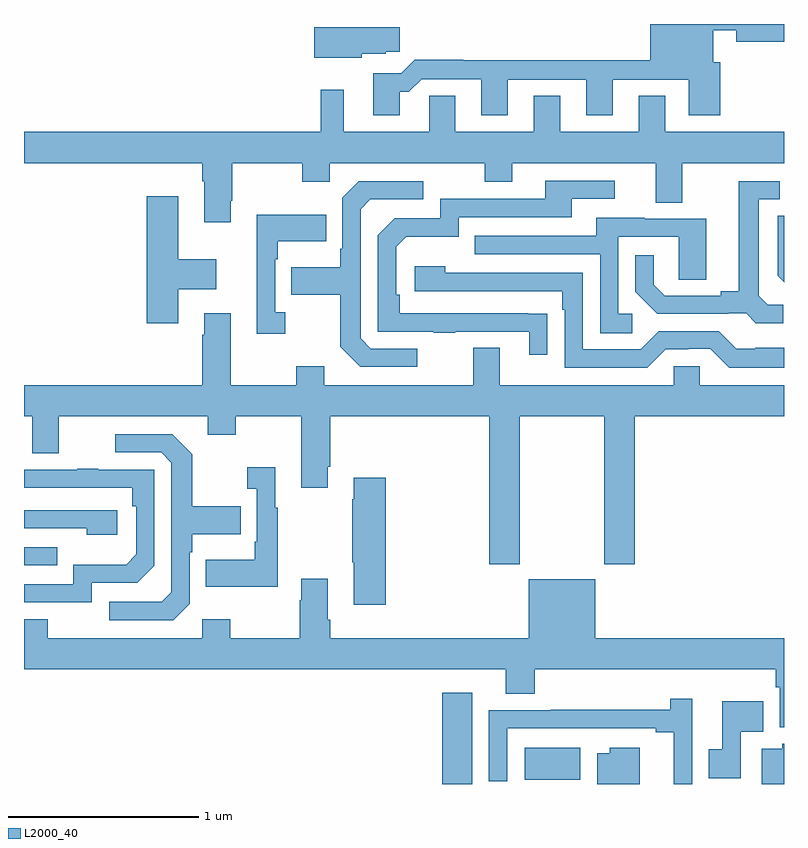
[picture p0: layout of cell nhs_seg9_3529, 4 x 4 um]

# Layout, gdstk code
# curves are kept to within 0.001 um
import gdstk
lib = gdstk.Library(unit=1e-6, precision=1e-09)
def R(c, l, rs):  # rectangles x0, y0, x1, y1
    for r in rs: c.add(gdstk.rectangle(r[:2], r[2:], *l))
def P(c, l, *ps):  # polygons
    for p in ps: c.add(gdstk.Polygon(p, *l))
L2000_40 = (2000, 40)

nhs_seg9_3529 = lib.new_cell('nhs_seg9_3529')
R(nhs_seg9_3529, L2000_40, [(315.2,1178.5,315.358,1178.98), (315.635,1178.522,315.928,1178.692), (313,1179.651,313.175,1179.747)])
P(nhs_seg9_3529, L2000_40, [(314.977,1182.143),(315.026,1182.143),(315.093,1182.21),(315.407,1182.21),(315.407,1182.021),(315.547,1182.021),(315.547,1182.207),(315.959,1182.207),(315.959,1182.021),(316.099,1182.021),(316.099,1182.207),(316.499,1182.207),(316.499,1182.021),(316.664,1182.021),(316.664,1182.3),(316.627,1182.3),(316.627,1182.467),(316.748,1182.467),(316.748,1182.406),(317,1182.406),(317,1182.5),(316.295,1182.5),(316.295,1182.308),(315.311,1182.308),(315.311,1182.311),(315.056,1182.311),(314.985,1182.24),(314.837,1182.24),(314.837,1182.021),(314.977,1182.021)],
  [(314.778,1182.344),(314.904,1182.344),(314.904,1182.355),(314.977,1182.355),(314.977,1182.484),(314.528,1182.484),(314.528,1182.323),(314.778,1182.323)],
  [(314.089,1181.569),(314.097,1181.569),(314.097,1181.768),(314.464,1181.768),(314.464,1181.669),(314.61,1181.669),(314.61,1181.768),(315.424,1181.768),(315.424,1181.669),(315.571,1181.669),(315.571,1181.768),(316.325,1181.768),(316.325,1181.56),(316.465,1181.56),(316.465,1181.768),(317,1181.768),(317,1181.932),(316.375,1181.932),(316.375,1182.122),(316.235,1182.122),(316.235,1181.932),(315.823,1181.932),(315.823,1182.122),(315.683,1182.122),(315.683,1181.932),(315.271,1181.932),(315.271,1182.122),(315.132,1182.122),(315.132,1181.932),(314.683,1181.932),(314.683,1182.154),(314.562,1182.154),(314.562,1181.932),(313,1181.932),(313,1181.768),(313.937,1181.768),(313.937,1181.672),(313.949,1181.672),(313.949,1181.457),(314.089,1181.457)],
  [(315.755,1180.976),(314.978,1180.977),(314.978,1181.074),(314.958,1181.074),(314.958,1181.328),(315.011,1181.381),(315.288,1181.381),(315.288,1181.484),(315.883,1181.484),(315.883,1181.58),(316.108,1181.58),(316.108,1181.676),(315.743,1181.676),(315.743,1181.58),(315.192,1181.58),(315.192,1181.478),(314.952,1181.478),(314.862,1181.388),(314.862,1180.881),(315.157,1180.881),(315.157,1180.876),(315.269,1180.876),(315.269,1180.881),(315.659,1180.881),(315.659,1180.758),(315.755,1180.758)],
  [(316.996,1181.022),(316.914,1181.022),(316.867,1181.069),(316.867,1181.577),(316.978,1181.577),(316.978,1181.673),(316.763,1181.673),(316.763,1181.093),(316.667,1181.093),(316.667,1181.07),(316.372,1181.07),(316.315,1181.127),(316.315,1181.284),(316.218,1181.284),(316.218,1181.09),(316.334,1180.974),(316.706,1180.974),(316.706,1180.977),(316.8,1180.977),(316.852,1180.925),(316.996,1180.925)],
  [(315.07,1180.791),(314.826,1180.791),(314.772,1180.845),(314.772,1181.526),(314.823,1181.577),(315.1,1181.577),(315.1,1181.673),(314.763,1181.673),(314.676,1181.586),(314.676,1181.317),(314.664,1181.317),(314.664,1181.221),(314.407,1181.221),(314.407,1181.074),(314.664,1181.074),(314.664,1180.801),(314.769,1180.695),(315.07,1180.695)],
  [(313.813,1181.105),(314.011,1181.105),(314.011,1181.263),(313.813,1181.263),(313.813,1181.593),(313.646,1181.593),(313.646,1180.926),(313.813,1180.926)],
  [(314.374,1180.982),(314.322,1180.982),(314.322,1181.261),(314.335,1181.261),(314.335,1181.357),(314.591,1181.357),(314.591,1181.497),(314.225,1181.497),(314.225,1180.869),(314.374,1180.869)],
  [(317,1181.492),(316.968,1181.492),(316.968,1181.174),(317,1181.142)],
  [(316.201,1180.974),(316.128,1180.974),(316.128,1181.379),(316.446,1181.379),(316.446,1181.155),(316.591,1181.155),(316.591,1181.475),(316.267,1181.475),(316.267,1181.479),(316.013,1181.479),(316.013,1181.385),(315.373,1181.385),(315.373,1181.289),(316.032,1181.289),(316.032,1180.873),(316.201,1180.873)],
  [(317,1180.795),(316.849,1180.795),(316.849,1180.791),(316.749,1180.791),(316.656,1180.884),(316.341,1180.884),(316.245,1180.788),(315.942,1180.788),(315.942,1181.19),(315.218,1181.19),(315.218,1181.224),(315.057,1181.224),(315.057,1181.094),(315.833,1181.094),(315.833,1180.997),(315.846,1180.997),(315.846,1180.692),(316.281,1180.692),(316.377,1180.788),(316.496,1180.788),(316.496,1180.791),(316.611,1180.791),(316.711,1180.691),(317,1180.691)],
  [(315.609,1180.436),(316.054,1180.436),(316.054,1179.657),(316.214,1179.657),(316.214,1180.436),(317,1180.436),(317,1180.6),(316.557,1180.6),(316.557,1180.698),(316.419,1180.698),(316.419,1180.6),(315.505,1180.6),(315.505,1180.795),(315.365,1180.795),(315.365,1180.6),(314.581,1180.6),(314.581,1180.699),(314.434,1180.699),(314.434,1180.6),(314.089,1180.6),(314.089,1180.978),(313.949,1180.978),(313.949,1180.865),(313.937,1180.865),(313.937,1180.6),(313,1180.6),(313,1180.436),(313.043,1180.436),(313.043,1180.242),(313.183,1180.242),(313.183,1180.436),(313.967,1180.436),(313.967,1180.337),(314.115,1180.337),(314.115,1180.436),(314.459,1180.436),(314.459,1180.059),(314.599,1180.059),(314.599,1180.171),(314.612,1180.171),(314.612,1180.436),(315.449,1180.436),(315.449,1179.657),(315.609,1179.657)],
  [(313.872,1179.45),(313.872,1179.719),(313.885,1179.719),(313.885,1179.815),(314.141,1179.815),(314.141,1179.963),(313.885,1179.963),(313.885,1180.235),(313.779,1180.341),(313.479,1180.341),(313.479,1180.245),(313.722,1180.245),(313.776,1180.191),(313.776,1179.51),(313.725,1179.459),(313.449,1179.459),(313.449,1179.363),(313.785,1179.363)],
  [(314.335,1179.955),(314.323,1179.955),(314.323,1180.168),(314.175,1180.168),(314.175,1180.055),(314.226,1180.055),(314.226,1179.775),(314.214,1179.775),(314.214,1179.679),(313.957,1179.679),(313.957,1179.539),(314.335,1179.539)],
  [(313.356,1179.558),(313.596,1179.558),(313.686,1179.648),(313.686,1180.155),(313.391,1180.155),(313.391,1180.16),(313.279,1180.16),(313.279,1180.155),(313,1180.155),(313,1180.059),(313.57,1180.059),(313.57,1179.962),(313.59,1179.962),(313.59,1179.708),(313.537,1179.655),(313.26,1179.655),(313.26,1179.552),(313,1179.552),(313,1179.456),(313.356,1179.456)],
  [(314.903,1180.111),(314.735,1180.111),(314.735,1179.998),(314.728,1179.998),(314.728,1179.667),(314.735,1179.667),(314.735,1179.444),(314.903,1179.444)],
  [(313.492,1179.942),(313,1179.942),(313,1179.846),(313.331,1179.846),(313.331,1179.812),(313.492,1179.812)],
  [(317,1179.268),(316.006,1179.268),(316.006,1179.577),(315.656,1179.577),(315.656,1179.268),(314.612,1179.268),(314.612,1179.364),(314.599,1179.364),(314.599,1179.58),(314.459,1179.58),(314.459,1179.467),(314.452,1179.467),(314.452,1179.268),(314.085,1179.268),(314.085,1179.367),(313.938,1179.367),(313.938,1179.268),(313.125,1179.268),(313.125,1179.367),(313,1179.367),(313,1179.104),(315.536,1179.104),(315.536,1178.974),(315.689,1178.974),(315.689,1179.104),(316.957,1179.104),(316.957,1179.008),(316.977,1179.008),(316.977,1178.798),(317,1178.798)],
  [(316.518,1178.95),(316.402,1178.95),(316.402,1178.891),(315.772,1178.891),(315.772,1178.889),(315.447,1178.889),(315.447,1178.514),(315.543,1178.514),(315.543,1178.793),(316.325,1178.793),(316.325,1178.773),(316.421,1178.773),(316.421,1178.5),(316.518,1178.5)],
  [(316.773,1178.774),(316.892,1178.774),(316.892,1178.935),(316.676,1178.935),(316.676,1178.682),(316.603,1178.682),(316.603,1178.53),(316.773,1178.53)],
  [(317,1178.713),(316.992,1178.713),(316.992,1178.686),(316.883,1178.686),(316.883,1178.5),(317,1178.5)],
  [(316.24,1178.692),(316.082,1178.692),(316.082,1178.662),(316.016,1178.662),(316.016,1178.5),(316.24,1178.5)])

lib.write_gds('nhs_seg9_3529.gds')
